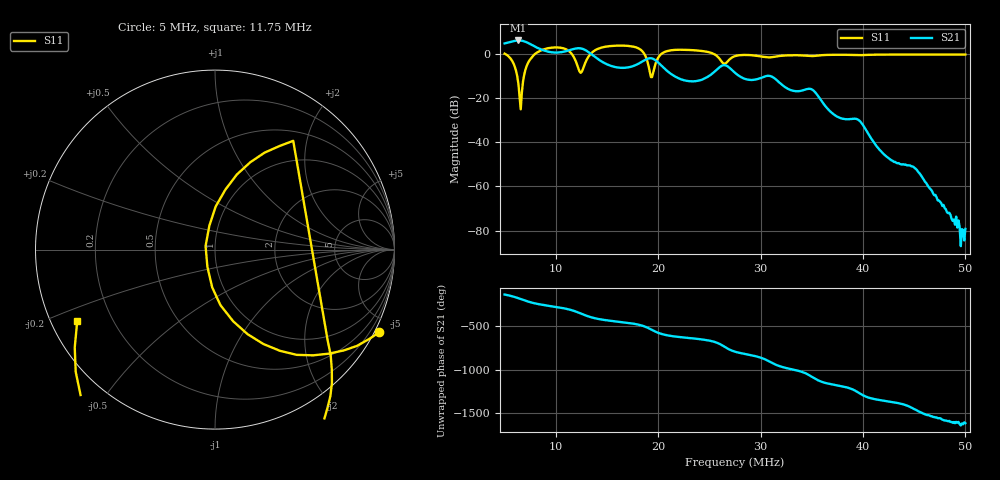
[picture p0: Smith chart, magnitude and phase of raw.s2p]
! S11/S21 only; reverse parameters are placeholders. Device calibration unverified.
! NanoVNA F V2 profile | COM3 | 2026-09-08T11:43:18.7516990-04:00 | device calibration unverified
# HZ S RI R 50
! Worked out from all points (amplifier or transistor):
!   401 points, 5 MHz to 50 MHz, reference 50 ohm
!   highest |S21| = 6.2 dB at 6.35 MHz (marker M1)
!   |S21| within 3 dB of that: start of sweep to 8.063 MHz
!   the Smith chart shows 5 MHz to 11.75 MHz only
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5000000  0.9159 -0.4598  -1.283 -1.19  0 0  0 0
6350000  -0.0158 -0.2099  -2.041 -0.0116  0 0  0 0
7250000  0.2759 0.54  -1.462 1.072  0 0  0 0
7925000  0.6515 -0.7435  -0.8016 1.271  0 0  0 0
1.0175e7  -0.1002 -1.411  0.2387 1.061  0 0  0 0
1.16375e7  -0.7815 -0.5454  0.9892 0.8259  0 0  0 0
1.25375e7  0.0209 0.3974  1.333 0.00326  0 0  0 0
1.3325e7  0.9553 0.1296  0.8722 -0.5913  0 0  0 0
1.4225e7  1.264 -0.4717  0.3742 -0.6393  0 0  0 0
1.77125e7  0.488 -1.367  -0.2325 -0.5028  0 0  0 0
1.895e7  -0.4651 -0.4895  -0.7247 -0.2953  0 0  0 0
1.95125e7  0.0461 0.3801  -0.7657 0.1529  0 0  0 0
2.0075e7  0.7997 0.3728  -0.4707 0.4035  0 0  0 0
2.12e7  1.205 -0.1546  -0.1091 0.3456  0 0  0 0
2.4125e7  1.002 -0.6368  0.0923 0.2398  0 0  0 0
2.62625e7  0.4872 -0.4284  0.5503 -0.0163  0 0  0 0
2.75e7  0.8579 -0.2753  0.1033 -0.3636  0 0  0 0
3.07625e7  0.7105 -0.4576  -0.3224 0.00667  0 0  0 0
3.50375e7  0.6548 -0.6239  0.1562 -0.0144  0 0  0 0
4.2575e7  0.4417 -0.8699  0.00131 0.00406  0 0  0 0
4.51625e7  0.3424 -0.9157  0.00231 -0.000968  0 0  0 0
5e7  0.1602 -0.9651  -0.000109 -6e-06  0 0  0 0
